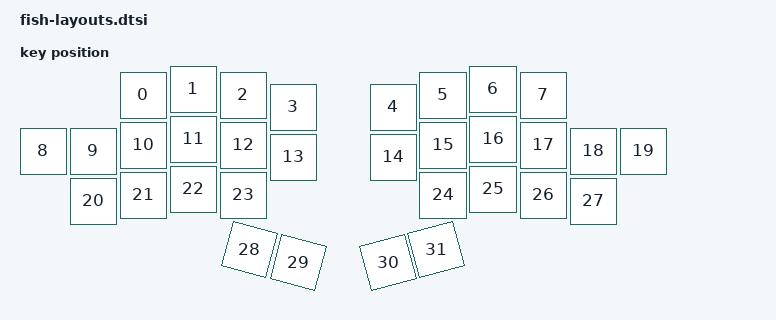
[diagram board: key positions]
#include <physical_layouts.dtsi>

/ {
    physical_layout0: physical_layout_0 {
        compatible = "zmk,physical-layout";
        display-name = "Fish Keyboard";

        keys  //                     w   h    x    y     rot    rx    ry
            = <&key_physical_attrs 100 100  200   12       0     0     0>
            , <&key_physical_attrs 100 100  300    0       0     0     0>
            , <&key_physical_attrs 100 100  400   12       0     0     0>
            , <&key_physical_attrs 100 100  500   36       0     0     0>
            , <&key_physical_attrs 100 100  700   36       0     0     0>
            , <&key_physical_attrs 100 100  800   12       0     0     0>
            , <&key_physical_attrs 100 100  900    0       0     0     0>
            , <&key_physical_attrs 100 100 1000   12       0     0     0>
            , <&key_physical_attrs 100 100    0  124       0     0     0>
            , <&key_physical_attrs 100 100  100  124       0     0     0>
            , <&key_physical_attrs 100 100  200  112       0     0     0>
            , <&key_physical_attrs 100 100  300  100       0     0     0>
            , <&key_physical_attrs 100 100  400  112       0     0     0>
            , <&key_physical_attrs 100 100  500  136       0     0     0>
            , <&key_physical_attrs 100 100  700  136       0     0     0>
            , <&key_physical_attrs 100 100  800  112       0     0     0>
            , <&key_physical_attrs 100 100  900  100       0     0     0>
            , <&key_physical_attrs 100 100 1000  112       0     0     0>
            , <&key_physical_attrs 100 100 1100  124       0     0     0>
            , <&key_physical_attrs 100 100 1200  124       0     0     0>
            , <&key_physical_attrs 100 100  100  224       0     0     0>
            , <&key_physical_attrs 100 100  200  212       0     0     0>
            , <&key_physical_attrs 100 100  300  200       0     0     0>
            , <&key_physical_attrs 100 100  400  212       0     0     0>
            , <&key_physical_attrs 100 100  800  212       0     0     0>
            , <&key_physical_attrs 100 100  900  200       0     0     0>
            , <&key_physical_attrs 100 100 1000  212       0     0     0>
            , <&key_physical_attrs 100 100 1100  224       0     0     0>
            , <&key_physical_attrs 100 100  428  310    1500   428   310>
            , <&key_physical_attrs 100 100  525  336    1500   525   336>
            , <&key_physical_attrs 100 100  679  362 (-1500)   679   362>
            , <&key_physical_attrs 100 100  775  336 (-1500)   775   336>
            ;
    };
};
